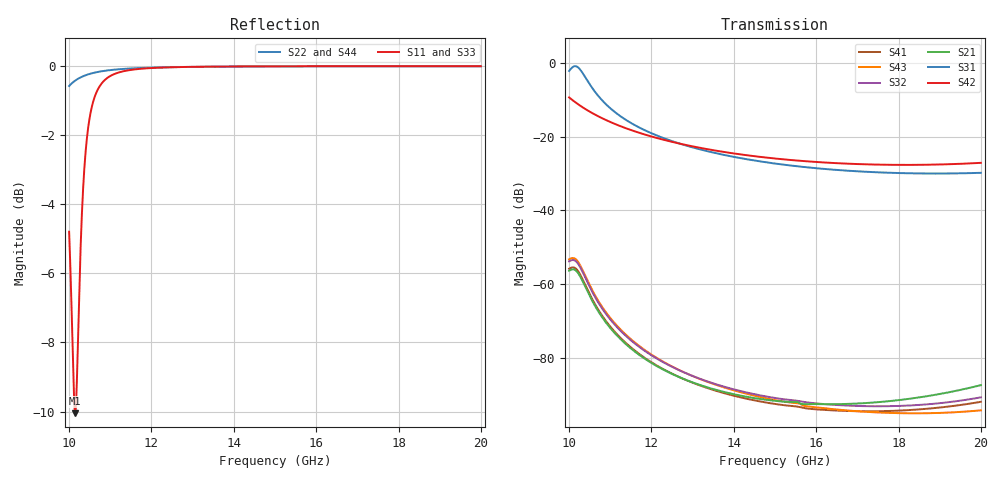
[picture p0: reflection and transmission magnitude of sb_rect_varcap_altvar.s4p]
! TOUCHSTONE file generated by CST MICROWAVE STUDIO
! Date and time: Tue Apr 21 06:58:06 2026
! Project name: sb_rect_varcap_altvar.cst
! Parameters = {CuT=0.035; c_p=7.5e-14; c_s=3.34e-13; h=0.79; l_s=4.5e-10; lw=0.25; p=8.8; phi=0; r_s=5.41; rad=8; rth=0.28; theta=0}
! Header version: 2024
! Port assignment regex: !\s*Touchstone port\s*([0-9]+)\s*=\s*(CST MWS port|CST DES external port|CST DES block port)\s*(.+)\s* \(\"(.*)\"\)(\s*mode\s*([0-9]+))?.*
! Touchstone port assignment:
! Touchstone port 1 = CST MWS port Zmin ("") mode 1
! Touchstone port 2 = CST MWS port Zmin ("") mode 2
! Touchstone port 3 = CST MWS port Zmax ("") mode 1
! Touchstone port 4 = CST MWS port Zmax ("") mode 2
# GHz S MA R 50
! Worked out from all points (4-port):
!   1001 points, 10 GHz to 20 GHz, reference 50 ohm
!   strongest paths, dB at 10 GHz, 12.5 GHz, 15 GHz, 17.5 GHz, 20 GHz:
!     S42: -9.3, -21.3, -25.9, -27.5, -27.0
!     S31: -2.1, -21.1, -27.2, -29.6, -29.8
!     S21: -56.4, -84.4, -91.8, -92.1, -87.5
!     S32: -53.8, -82.5, -91.0, -93.2, -90.8
!     S43: -53.3, -82.4, -91.6, -94.9, -94.3
!     S41: -55.8, -84.4, -92.6, -94.6, -92.0
!   lowest |S11| = -10.0 dB at 10.15 GHz (marker M1), VSWR 1.92, Z = 94.9 + j8.15 ohm
!   |S11| at or under -10 dB: 10.13911 GHz to 10.15541 GHz (16.3 MHz wide, 0.161 % of centre)
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10  0.5758 -25.2  0.001516 57.6  0.7894 -142.1  0.001615 59.2
    0.001516 57.6  0.9354 24.4  0.002033 59.1  0.3447 117.9
    0.7894 -142.1  0.002034 59.1  0.5445 -71.9  0.002167 60.7
    0.001615 59.2  0.3447 117.9  0.002166 60.7  0.935 30.3
10.15  0.3144 7.1  0.001547 23.2  0.9166 -173.5  0.001644 24.8
       0.001547 23.2  0.9527 21.4  0.002068 24.7  0.2963 114.6
       0.9166 -173.5  0.002068 24.7  0.2257 -174.5  0.002198 26.2
       0.001644 24.8  0.2963 114.6  0.002197 26.3  0.9523 26.8
10.42  0.7737 31.5  0.00085 -28.8  0.6119 138.4  0.0008988 -27.2
       0.0008506 -28.8  0.9706 17.5  0.00113 -27.3  0.2347 110.3
       0.6119 138.4  0.001129 -27.3  0.7595 60.9  0.001194 -25.8
       0.0008993 -27.2  0.2347 110.3  0.001195 -25.7  0.9704 22.2
10.89  0.9571 16.5  0.0003015 -57.7  0.2799 113.3  0.0003158 -56.2
       0.000302 -57.8  0.9846 13.1  0.0003964 -56.3  0.1702 105.4
       0.2799 113.3  0.0003959 -56.3  0.9546 28.6  0.0004147 -54.7
       0.0003164 -56.2  0.1702 105.4  0.0004154 -54.8  0.9845 17.2
12.13  0.9941 6.6  7.66e-05 -75.9  0.1047 99.8  7.792e-05 -74.2
       7.657e-05 -76.0  0.995 6.8  9.68e-05 -74.5  0.09676 98.7
       0.1047 99.8  9.685e-05 -74.4  0.9937 12.4  9.881e-05 -72.8
       7.791e-05 -74.3  0.09676 98.7  9.876e-05 -72.8  0.995 10.3
15.45  0.9991 -2.3  2.502e-05 -89.7  0.04043 90.0  2.223e-05 -87.6
       2.488e-05 -90.0  0.9987 -2.0  2.629e-05 -87.9  0.04819 90.0
       0.04043 90.0  2.635e-05 -87.2  0.9991 2.0  2.412e-05 -85.7
       2.185e-05 -87.6  0.04819 90.0  2.42e-05 -85.8  0.9987 1.8
20  0.9993 -14.2  4.218e-05 -103.1  0.03252 79.4  2.507e-05 -97.7
    4.216e-05 -103.2  0.9988 -14.8  2.877e-05 -98.8  0.04443 79.2
    0.03252 79.4  2.881e-05 -98.8  0.9994 -7.1  1.923e-05 -93.9
    2.503e-05 -97.8  0.04443 79.2  1.917e-05 -94.0  0.9989 -7.0
